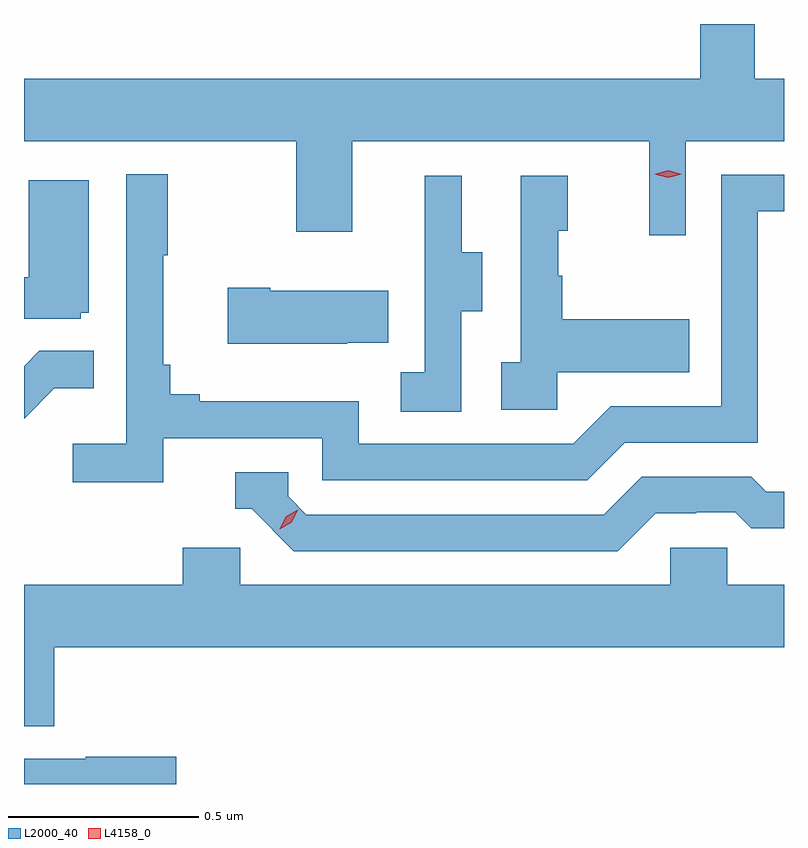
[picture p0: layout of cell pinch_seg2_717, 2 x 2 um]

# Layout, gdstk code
import gdstk
lib = gdstk.Library(unit=1e-6, precision=1e-09)
def P(c, l, *ps):  # polygons
    for p in ps: c.add(gdstk.Polygon(p, *l))
L2000_40 = (2000, 40)
L4158_0 = (4158, 0)

pinch_seg2_717 = lib.new_cell('pinch_seg2_717')
P(pinch_seg2_717, L2000_40, [(1120.119,593.024),(1120.377,593.024),(1120.377,593.188),(1120.3,593.188),(1120.3,593.332),(1120.157,593.332),(1120.157,593.188),(1118.377,593.188),(1118.377,593.024),(1119.094,593.024),(1119.094,592.785),(1119.241,592.785),(1119.241,593.024),(1120.022,593.024),(1120.022,592.776),(1120.119,592.776)],
  [(1118.744,592.242),(1119.162,592.242),(1119.162,592.131),(1119.859,592.131),(1119.958,592.23),(1120.308,592.23),(1120.308,592.839),(1120.377,592.839),(1120.377,592.935),(1120.212,592.935),(1120.212,592.326),(1119.921,592.326),(1119.822,592.227),(1119.258,592.227),(1119.258,592.339),(1118.839,592.339),(1118.839,592.358),(1118.762,592.358),(1118.762,592.435),(1118.743,592.435),(1118.743,592.723),(1118.755,592.723),(1118.755,592.936),(1118.646,592.936),(1118.646,592.228),(1118.505,592.228),(1118.505,592.126),(1118.744,592.126)],
  [(1119.78,592.415),(1120.127,592.415),(1120.127,592.555),(1119.793,592.555),(1119.793,592.67),(1119.783,592.67),(1119.783,592.788),(1119.808,592.788),(1119.808,592.933),(1119.684,592.933),(1119.684,592.442),(1119.633,592.442),(1119.633,592.317),(1119.78,592.317)],
  [(1119.528,592.576),(1119.583,592.576),(1119.583,592.731),(1119.529,592.731),(1119.529,592.933),(1119.431,592.933),(1119.431,592.719),(1119.432,592.719),(1119.432,592.415),(1119.369,592.415),(1119.369,592.312),(1119.528,592.312)],
  [(1118.526,592.572),(1118.548,592.572),(1118.548,592.921),(1118.39,592.921),(1118.39,592.666),(1118.377,592.666),(1118.377,592.557),(1118.526,592.557)],
  [(1119.227,592.493),(1119.335,592.493),(1119.335,592.63),(1119.025,592.63),(1119.025,592.638),(1118.913,592.638),(1118.913,592.49),(1119.227,592.49)],
  [(1118.457,592.373),(1118.561,592.373),(1118.561,592.472),(1118.417,592.472),(1118.377,592.432),(1118.377,592.293)],
  [(1120.039,592.044),(1120.146,592.044),(1120.146,592.047),(1120.249,592.047),(1120.291,592.005),(1120.377,592.005),(1120.377,592.101),(1120.33,592.101),(1120.291,592.14),(1120.002,592.14),(1119.903,592.041),(1119.12,592.041),(1119.072,592.089),(1119.072,592.152),(1118.933,592.152),(1118.933,592.056),(1118.976,592.056),(1119.087,591.945),(1119.94,591.945)],
  [(1120.077,591.954),(1120.077,591.856),(1118.946,591.856),(1118.946,591.954),(1118.795,591.954),(1118.795,591.856),(1118.377,591.856),(1118.377,591.484),(1118.456,591.484),(1118.456,591.692),(1120.377,591.692),(1120.377,591.856),(1120.227,591.856),(1120.227,591.954)],
  [(1118.777,591.404),(1118.539,591.404),(1118.539,591.399),(1118.377,591.399),(1118.377,591.332),(1118.777,591.332)])
P(pinch_seg2_717, L4158_0, [(1119.05,592.002),(1119.05,592.002),(1119.066,592.035),(1119.097,592.054),(1119.098,592.054),(1119.098,592.053),(1119.081,592.021),(1119.05,592.002)],
  [(1120.072,592.927),(1120.036,592.937),(1120.036,592.937),(1120.036,592.937),(1120.072,592.947),(1120.108,592.937),(1120.108,592.937),(1120.108,592.937)])

lib.write_gds('pinch_seg2_717.gds')
